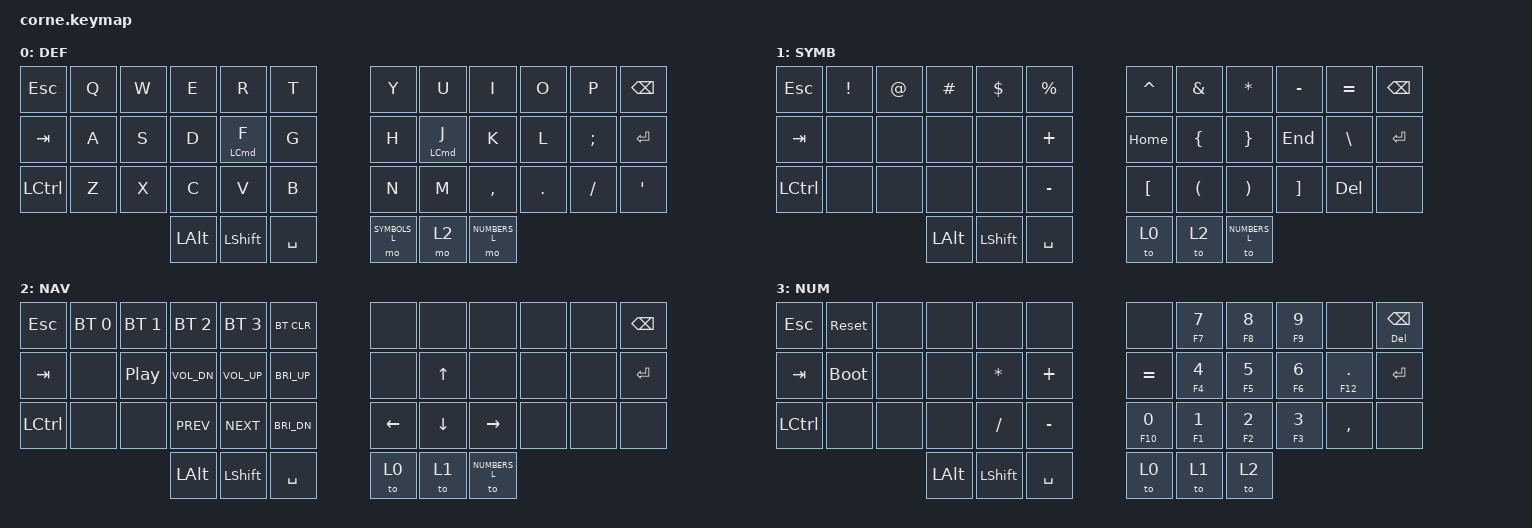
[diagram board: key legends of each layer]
/*
 * Copyright (c) 2020 The ZMK Contributors
 *
 * SPDX-License-Identifier: MIT
 */

#include <behaviors.dtsi>
#include <dt-bindings/zmk/bt.h>
#include <dt-bindings/zmk/keys.h>

#define DEFAULT_L 0
#define SYMBOLS_L 1
#define ARROWS_L  2
#define NUMBERS_L 3

/ {
    behaviors {
        hm: homerow_mods {
            compatible = "zmk,behavior-hold-tap";
            label = "HOMEROW_MODS";
            #binding-cells = <2>;
            tapping-term-ms = <300>;
            quick-tap-ms = <200>;
            flavor = "tap-preferred";
            bindings = <&kp>, <&kp>;
        };
    };

    keymap {
        compatible = "zmk,keymap";

        default_layer {
            label = "DEF";
            bindings = <
&kp ESC    &kp Q  &kp W  &kp E         &kp R       &kp T        &kp Y          &kp U       &kp I          &kp O    &kp P          &kp BSPC
&kp TAB    &kp A  &kp S  &kp D         &hm LCMD F  &kp G        &kp H          &hm LCMD J  &kp K          &kp L    &kp SEMICOLON  &kp RET
&kp LCTRL  &kp Z  &kp X  &kp C         &kp V       &kp B        &kp N          &kp M       &kp COMMA      &kp DOT  &kp SLASH      &kp SQT
                         &kp LEFT_ALT  &kp LSHFT   &kp SPACE    &mo SYMBOLS_L  &mo 2       &mo NUMBERS_L
            >;
        };

        symbols_layer {
            label = "SYMB";
            bindings = <
&kp ESC    &kp EXCL  &kp AT  &kp HASH      &kp DLLR   &kp PRCNT    &kp CARET  &kp AMPS  &kp STAR       &kp MINUS  &kp EQUAL   &kp BSPC
&kp TAB    &none     &none   &none         &none      &kp PLUS     &kp HOME   &kp LBRC  &kp RBRC       &kp END    &kp BSLH    &kp RET
&kp LCTRL  &none     &none   &none         &none      &kp MINUS    &kp LBKT   &kp LPAR  &kp RPAR       &kp RBKT   &kp DELETE  &none
                             &kp LEFT_ALT  &kp LSHFT  &kp SPACE    &to 0      &to 2     &to NUMBERS_L
            >;
        };

        arrows_layer {
            label = "NAV";
            bindings = <
&kp ESC    &bt BT_SEL 0  &bt BT_SEL 1  &bt BT_SEL 2  &bt BT_SEL 3  &bt BT_CLR      &none           &none           &none          &none  &none  &kp BSPC
&kp TAB    &none         &kp C_PP      &kp C_VOL_DN  &kp C_VOL_UP  &kp C_BRI_UP    &none           &kp UP_ARROW    &none          &none  &none  &kp RET
&kp LCTRL  &none         &none         &kp C_PREV    &kp C_NEXT    &kp C_BRI_DN    &kp LEFT_ARROW  &kp DOWN_ARROW  &kp RIGHT      &none  &none  &none
                                       &kp LEFT_ALT  &kp LSHFT     &kp SPACE       &to 0           &to 1           &to NUMBERS_L
            >;
        };

        numbers_layer {
            label = "NUM";
            bindings = <
&kp ESC    &sys_reset   &none  &none         &none      &none        &none       &hm F7 N7  &hm F8 N8  &hm F9 N9  &none        &hm DEL BSPC
&kp TAB    &bootloader  &none  &none         &kp STAR   &kp PLUS     &kp EQUAL   &hm F4 N4  &hm F5 N5  &hm F6 N6  &hm F12 DOT  &kp RET
&kp LCTRL  &none        &none  &none         &kp FSLH   &kp MINUS    &hm F10 N0  &hm F1 N1  &hm F2 N2  &hm F3 N3  &kp COMMA    &none
                               &kp LEFT_ALT  &kp LSHFT  &kp SPACE    &to 0       &to 1      &to 2
            >;
        };
    };
};
